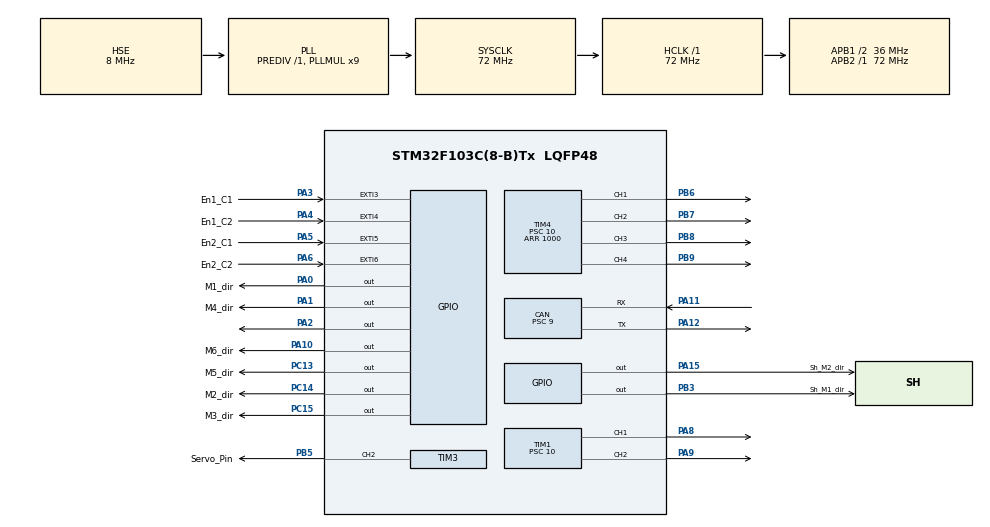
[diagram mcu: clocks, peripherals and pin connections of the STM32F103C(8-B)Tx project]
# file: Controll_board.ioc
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CAN.BS1=CAN_BS1_2TQ
CAN.CalculateBaudRate=1000000
CAN.CalculateTimeBit=1000
CAN.CalculateTimeQuantum=250.0
CAN.Prescaler=9
Mcu.Family=STM32F1
Mcu.Name=STM32F103C(8-B)Tx
Mcu.Package=LQFP48
NVIC.CAN1_RX1_IRQn=true\:0\:0\:false\:false\:true\:true\:true\:true
NVIC.EXTI3_IRQn=true\:0\:0\:false\:false\:true\:true\:true\:true
NVIC.EXTI4_IRQn=true\:0\:0\:false\:false\:true\:true\:true\:true
NVIC.EXTI9_5_IRQn=true\:0\:0\:false\:false\:true\:true\:true\:true
NVIC.PriorityGroup=NVIC_PRIORITYGROUP_4
NVIC.TIM2_IRQn=true\:0\:0\:false\:false\:true\:true\:true\:true
PA0-WKUP.GPIO_Label=M1_dir
PA0-WKUP.Signal=GPIO_Output
PA1.GPIO_Label=M4_dir
PA1.Signal=GPIO_Output
PA10.GPIO_Label=M6_dir
PA10.Signal=GPIO_Output
PA11.Mode=CAN_Activate
PA11.Signal=CAN_RX
PA12.Mode=CAN_Activate
PA12.Signal=CAN_TX
PA13.Mode=Serial_Wire
PA13.Signal=SYS_JTMS-SWDIO
PA14.Mode=Serial_Wire
PA14.Signal=SYS_JTCK-SWCLK
PA15.GPIO_Label=Sh_M2_dir
PA15.Signal=GPIO_Output
PA2.Signal=GPIO_Output
PA3.GPIO_Label=En1_C1
PA3.GPIO_ModeDefaultEXTI=GPIO_MODE_IT_RISING_FALLING
PA3.Signal=GPXTI3
PA4.GPIO_Label=En1_C2
PA4.GPIO_ModeDefaultEXTI=GPIO_MODE_IT_RISING_FALLING
PA4.Signal=GPXTI4
PA5.GPIO_Label=En2_C1
PA5.GPIO_ModeDefaultEXTI=GPIO_MODE_IT_RISING_FALLING
PA5.Signal=GPXTI5
PA6.GPIO_Label=En2_C2
PA6.GPIO_ModeDefaultEXTI=GPIO_MODE_IT_RISING_FALLING
PA6.Signal=GPXTI6
PA8.Signal=S_TIM1_CH1
PA9.Signal=S_TIM1_CH2
PB3.GPIO_Label=Sh_M1_dir
PB3.Signal=GPIO_Output
PB5.GPIO_Label=Servo_Pin
PB5.Signal=S_TIM3_CH2
PB6.Signal=S_TIM4_CH1
PB7.Signal=S_TIM4_CH2
PB8.Signal=S_TIM4_CH3
PB9.Signal=S_TIM4_CH4
PC13-TAMPER-RTC.GPIO_Label=M5_dir
PC13-TAMPER-RTC.Signal=GPIO_Output
PC14-OSC32_IN.GPIO_Label=M2_dir
PC14-OSC32_IN.Signal=GPIO_Output
PC15-OSC32_OUT.GPIO_Label=M3_dir
PC15-OSC32_OUT.Signal=GPIO_Output
PD0-OSC_IN.Mode=HSE-External-Oscillator
PD0-OSC_IN.Signal=RCC_OSC_IN
PD1-OSC_OUT.Mode=HSE-External-Oscillator
PD1-OSC_OUT.Signal=RCC_OSC_OUT
ProjectManager.HeapSize=0x200
ProjectManager.StackSize=0x400
ProjectManager.TargetToolchain=STM32CubeIDE
RCC.AHBFreq_Value=72000000
RCC.APB1CLKDivider=RCC_HCLK_DIV2
RCC.APB1Freq_Value=36000000
RCC.APB1TimFreq_Value=72000000
RCC.APB2Freq_Value=72000000
RCC.APB2TimFreq_Value=72000000
RCC.HCLKFreq_Value=72000000
RCC.PLLMUL=RCC_PLL_MUL9
RCC.PLLSourceVirtual=RCC_PLLSOURCE_HSE
RCC.SYSCLKFreq_VALUE=72000000
RCC.SYSCLKSource=RCC_SYSCLKSOURCE_PLLCLK
RCC.USBFreq_Value=72000000
SH.S_TIM1_CH1.0=TIM1_CH1,PWM Generation1 CH1
SH.S_TIM1_CH2.0=TIM1_CH2,PWM Generation2 CH2
SH.S_TIM3_CH2.0=TIM3_CH2,PWM Generation2 CH2
SH.S_TIM4_CH1.0=TIM4_CH1,PWM Generation1 CH1
SH.S_TIM4_CH2.0=TIM4_CH2,PWM Generation2 CH2
SH.S_TIM4_CH3.0=TIM4_CH3,PWM Generation3 CH3
SH.S_TIM4_CH4.0=TIM4_CH4,PWM Generation4 CH4
TIM1.AutoReloadPreload=TIM_AUTORELOAD_PRELOAD_ENABLE
TIM1.Channel-PWM\ Generation1\ CH1=TIM_CHANNEL_1
TIM1.Channel-PWM\ Generation2\ CH2=TIM_CHANNEL_2
TIM1.Period=1000
TIM1.Prescaler=10
TIM2.AutoReloadPreload=TIM_AUTORELOAD_PRELOAD_ENABLE
TIM2.Period=999
TIM2.Prescaler=719
TIM3.AutoReloadPreload=TIM_AUTORELOAD_PRELOAD_ENABLE
TIM3.Channel-PWM\ Generation2\ CH2=TIM_CHANNEL_2
TIM3.Period=999
TIM3.Prescaler=1439
TIM4.AutoReloadPreload=TIM_AUTORELOAD_PRELOAD_ENABLE
TIM4.Channel-PWM\ Generation1\ CH1=TIM_CHANNEL_1
TIM4.Channel-PWM\ Generation2\ CH2=TIM_CHANNEL_2
TIM4.Channel-PWM\ Generation3\ CH3=TIM_CHANNEL_3
TIM4.Channel-PWM\ Generation4\ CH4=TIM_CHANNEL_4
TIM4.Period=1000
TIM4.Prescaler=10
VP_TIM1_VS_ClockSourceINT.Mode=Internal
VP_TIM2_VS_ClockSourceINT.Mode=Internal
VP_TIM3_VS_ClockSourceINT.Mode=Internal
VP_TIM4_VS_ClockSourceINT.Mode=Internal
board=custom

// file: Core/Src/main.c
/* USER CODE BEGIN Header */
/**
  ******************************************************************************
  * @file           : main.c
  * @brief          : Main program body
  ******************************************************************************
  * @attention
  *
  * Copyright (c) 2023 STMicroelectronics.
  * All rights reserved.
  *
  * This software is licensed under terms that can be found in the LICENSE file
  * in the root directory of this software component.
  * If no LICENSE file comes with this software, it is provided AS-IS.
  *
  ******************************************************************************
  */
/* USER CODE END Header */
#include "main.h"
#include "can.h"
#include "tim.h"
#include "gpio.h"

/* USER CODE BEGIN Includes */
#include "PID.h"
#include "math.h"
/* USER CODE END Includes */

/* USER CODE BEGIN PTD */
uint8_t data[2] = {0};
uint16_t data_16 = 0;
float speed = 0;

uint8_t input_degree = 150; // 90

float speed_up;
uint8_t up_control = 1;
uint8_t shoot_state;
uint8_t shoot_finish = 1;

uint8_t start_finish = 1;
/* USER CODE END PTD */

/* USER CODE BEGIN PD */
PIDController MPID;
#define MKp 1.14
#define MKi 25.59
#define MKd 0.0

// need to configuration
#define CPR 64
#define Sample_time 10 // ms

#define pi 3.1415
#define Motor1 0
#define Motor2 1
volatile uint8_t nowA[2];
volatile uint8_t nowB[2];
volatile uint8_t lastA[2];
volatile uint8_t lastB[2];
volatile uint8_t dir[2];
uint16_t cnt[2];
uint16_t Enc_count[2];

uint16_t count[2]; // count pulse from encoder
uint16_t new_count[2];
uint8_t count_state[2];
uint16_t diff[2]; // difference between count and new_count in a sample time

float speedM[2];
float rdps[2];

float Motor1_speed = 0;
float Motor2_speed = 0;
float V1 = 0; // target speed of motor1
float V2 = 0; // target speed of motor2
float pwm_M1 = 0;
float pwm_M2 = 0;
float M_shooter1 = 0;
float M_shooter2 = 0;

///// reloading
uint8_t reload_feedback;
uint8_t reload_control;
int8_t reload_error;

uint8_t right_feedback = 1;
uint8_t right_control = 1;
int8_t right_error;

uint8_t left_feedback = 1;
uint8_t left_control = 1;
int8_t left_error;

uint8_t shoot_feedback = 0;
uint8_t shoot_control = 0;
int8_t shoot_error = 0;

uint8_t bit1;
uint8_t bit2;
uint8_t bit3;
uint8_t bit4;

uint8_t pickup_state;
uint8_t ring_count;
uint8_t start;
uint8_t prepare;
uint8_t reload;
uint8_t shoot;

uint8_t right_reset;
uint8_t left_reset;

uint8_t test = 150;
/* USER CODE END PD */

/* USER CODE BEGIN PM */
CAN_RxHeaderTypeDef RxHeader;
uint8_t RxData[8];
CAN_TxHeaderTypeDef TxHeader;
uint8_t TxData[4];
uint32_t TxMailbox;
uint8_t cntt;

uint8_t break_loop;

float map(float Input, float Min_Input, float Max_Input, float Min_Output, float Max_Output)
{

	return (float)((Input - Min_Input) * (Max_Output - Min_Output) / (Max_Input - Min_Input) + Min_Output);
}

void servo_rotation(uint8_t degree){
	float y = 0.556 * (float) degree + 25;
	uint8_t pwm = round(y);
	TIM3->CCR2 = pwm;
}

void HAL_CAN_RxFifo1MsgPendingCallback(CAN_HandleTypeDef *hcan)
{
	HAL_CAN_GetRxMessage(hcan, CAN_RX_FIFO1, &RxHeader, RxData);
	cntt++;
	while (cntt - 100 > 0)
	{
		HAL_GPIO_TogglePin(GPIOA, GPIO_PIN_2);
		cntt = 0;
	}

	if (RxHeader.DLC == 2 && RxHeader.StdId == 0x222)
	{
		data_16 = (RxData[0] << 8) | RxData[1];
		speed = map(data_16,0,65535,0,1500);
	}

	if (RxHeader.DLC == 1 && RxHeader.StdId == 0x444){
		reload_feedback = RxData[0] >> 0 & 1;
		bit1 = RxData[0] >> 1 & 1;
		bit2 = RxData[0] >> 2 & 1;
		right_feedback = (bit2 << 1 ) + bit1;
		bit3 = RxData[0] >> 3 & 1;
		bit4 = RxData[0] >> 4 & 1;
		left_feedback = (bit4 << 1 ) + bit3;

		shoot_feedback = RxData[0] >> 5 & 1;

		right_reset = RxData[0] >> 6 & 1;
		left_reset = RxData[0] >> 7 & 1;

		if (right_reset == 1 || left_reset == 1){
			right_reset = 0;
			left_reset = 0;
			// break signal

			break_loop = 1;
			servo_rotation(150);
			right_control = 1;
			left_control = 1;
		}
	}

	// working_state
	if (RxHeader.DLC == 1 && RxHeader.StdId == 0x145){
		if(RxData[0] == 0){
			if(right_error == 0 && left_error == 0 && left_feedback != 0 && right_feedback != 0) {
				prepare = 1;
			}
		}
		else if(RxData[0] == 1 && start_finish == 1){
			if(right_error == 0 && left_error == 0){
				start = 1;
			}
		}
		else if(RxData[0] == 2 && shoot_finish == 1){
			if(shoot_state == 0 ){ // && ring_count > 0 && ring_count <= 10
				shoot = 1;
			}
		}
	}
}

/* USER CODE END PM */

/* USER CODE BEGIN PV */
// process on pick up //

void prepare_function(){
	ring_count = 0;
	servo_rotation(160);
	right_control = 0;
	left_control = 0;
	HAL_Delay(10);
	while (left_error != 0 || right_error != 0 )
	{
		/* code */
	}
}

//void reload_function(){
//
//	if(break_loop){
//		break_loop = 0;
//		right_feedback = 1;
//		left_feedback = 1;
//	}
//	else {
//		reload_control = 1;
//		HAL_Delay(50);
//		while(reload_control != 0){
//			right_control = 0;
//			left_control = 0;
//		}
//
//		while(reload_error != 0){
//			right_feedback = 0;
//			left_feedback = 0;
//			right_error = 0;
//			left_error = 0;
//		}
//		right_feedback = 0;
//		left_feedback = 0;
//		HAL_Delay(200);
//		right_control = 3;
//		left_control = 3;
//		HAL_Delay(10);
//		if(break_loop){
//			right_control = 1;
//			left_control = 1;
//			servo_rotation(160);
//		}
//		else {
//			while ((left_error != 0 || right_error != 0))
//			{
//				if (break_loop){
//					right_control = 1;
//					left_control = 1;
//					break;
//				}
//				/* code */
//			}
//			if (break_loop == 0){
//				right_control = 2;
//				left_control = 2;
//				HAL_Delay(10);
//			}
//
//			while ((left_error != 0 || right_error != 0 ))
//			{
//				/* code */
//				if (break_loop){
//					right_control = 1;
//					left_control = 1;
//					break;
//				}
//			}
//		}
//	}
//
//}
//

void reload_function(){

	if(break_loop){
		break_loop = 0;
		right_feedback = 1;
		left_feedback = 1;
	}
	else {
		reload_control = 1;
		HAL_Delay(300);
		while(reload_control != 0){
			right_control = 0;
			left_control = 0;
		}
//		right_control = 0;
//		left_control = 0;
//		HAL_Delay(10);
//		reload_control = 1;
//		while(reload_control != 0);

		while(reload_error != 0){
			right_feedback = 0;
			left_feedback = 0;
			right_error = 0;
			left_error = 0;
		}
		right_feedback = 0;
		left_feedback = 0;
		while(reload_feedback != 0){
			HAL_Delay(10);
		}
		right_control = 3;
		left_control = 3;
		HAL_Delay(10);
		if(break_loop){
			right_control = 1;
			left_control = 1;
			servo_rotation(160);
		}
		else {
			while ((left_error != 0 || right_error != 0))
			{
				if (break_loop){
					right_control = 1;
					left_control = 1;
					break;
				}
				/* code */
			}
			if (break_loop == 0){
				right_control = 2;
				left_control = 2;
				HAL_Delay(10);
			}

			while ((left_error != 0 || right_error != 0 ))
			{
				/* code */
				if (break_loop){
					right_control = 1;
					left_control = 1;
					break;
				}
			}
		}
	}

}

void start_fucntion(){
	start_finish = 0;
	servo_rotation(95);
	HAL_Delay(500);
	right_control = 2;
	left_control = 2;

	HAL_Delay(10);
	while ((left_error != 0 || right_error != 0 ) ){
		if (break_loop){
			right_control = 1;
			left_control = 1;
			break;
		}
	}

	HAL_Delay(10);
	reload_function();

	start_finish = 1;
}

void shoot_function(float speed_){
	shoot_finish = 0;
	speed = speed_;
	HAL_Delay(1000);
	shoot_state = 1;
	HAL_Delay(700);
	shoot_state = 0;
	speed = 0;

	HAL_Delay(10);
	while(shoot_error != 0);
	if (right_feedback != 1 && left_feedback != 1){
		reload_function();
	}
	shoot_finish = 1;
}
/* USER CODE END PV */

void SystemClock_Config(void);
/* USER CODE BEGIN PFP */
uint16_t encoder(int i)
{
	if (nowA[i] != lastA[i])
	{
		lastA[i] = nowA[i];
		if (lastA[i] == 0)
		{
			if (nowB[i] == 0)
			{
				dir[i] = 0;
				cnt[i]--;
			}
			else
			{
				dir[i] = 1;
				cnt[i]++;
			}
		}
		else
		{
			if (nowB[i] == 1)
			{
				dir[i] = 0;
				cnt[i]--;
			}
			else
			{
				dir[i] = 1;
				cnt[i]++;
			}
		}
	}
	if (nowB[i] != lastB[i])
	{
		lastB[i] = nowB[i];
		if (lastB[i] == 0)
		{
			if (nowA[i] == 1)
			{
				dir[i] = 0;
				cnt[i]--;
			}
			else
			{
				dir[i] = 1;
				cnt[i]++;
			}
		}
		else
		{
			if (nowA[i] == 0)
			{
				dir[i] = 0;
				cnt[i]--;
			}
			else
			{
				dir[i] = 1;
				cnt[i]++;
			}
		}
	}
	return cnt[i];
}
float Motors_RPS(int j, float SampleTime, float N_round)
{
	new_count[Motor1] = Enc_count[0];
	new_count[Motor2] = Enc_count[1];

	count_state[Motor1] = !dir[0];
	count_state[Motor2] = !dir[1];

	if (count_state[j])
	{
		if (new_count[j] <= count[j])
		{ // Check for counter underflow
			diff[j] = count[j] - new_count[j];
		}
		else
		{
			diff[j] = (65536 - new_count[j]) + count[j];
		}
		speedM[j] = (float)diff[j] * 1000.0f / (N_round * SampleTime) * -1.0;
	}
	else
	{
		if (new_count[j] >= count[j])
		{ // Check for counter overflow
			diff[j] = new_count[j] - count[j];
		}
		else
		{
			diff[j] = (65536 - count[j]) + new_count[j];
		}
		speedM[j] = (float)diff[j] * 1000.0f / (N_round * SampleTime);
	}

	rdps[j] = -2.0f * pi * speedM[j];
	count[j] = new_count[j];

	return rdps[j];
}

/* USER CODE END PFP */

int main(void)
{

  /* MCU Configuration--------------------------------------------------------*/

  /* Reset of all peripherals, Initializes the Flash interface and the Systick. */
  HAL_Init();

  /* USER CODE BEGIN Init */
	PID_Init(&MPID, 2);
	MPID.T = 0.01; // T = 20ms
	MPID.limMax = 1000;
	MPID.limMin = -10;
	MPID.limMaxInt = 1000;
	MPID.limMinInt = -10;
	MPID.tau = 0; // for Kd

  /* USER CODE END Init */

  /* Configure the system clock */
  SystemClock_Config();

  /* Initialize all configured peripherals */
  MX_GPIO_Init();
  MX_TIM2_Init();
  MX_TIM4_Init();
  MX_CAN_Init();
  MX_TIM3_Init();
  MX_TIM1_Init();
  /* USER CODE BEGIN 2 */
  HAL_TIM_Base_Start_IT(&htim2);						// TIMER INTERUPT
  HAL_TIM_PWM_Start(&htim4, TIM_CHANNEL_1);				// M1
  HAL_TIM_PWM_Start(&htim4, TIM_CHANNEL_2);				// M2
  HAL_TIM_PWM_Start(&htim4, TIM_CHANNEL_3);				// M1
  HAL_TIM_PWM_Start(&htim4, TIM_CHANNEL_4);				// M2

  HAL_TIM_PWM_Start(&htim3, TIM_CHANNEL_2);				// servo

  HAL_TIM_PWM_Start(&htim1, TIM_CHANNEL_1);				// M1
  HAL_TIM_PWM_Start(&htim1, TIM_CHANNEL_2);				// M2
	HAL_CAN_Start(&hcan);

	// Activate the notification
	HAL_CAN_ActivateNotification(&hcan, CAN_IT_RX_FIFO1_MSG_PENDING);

	servo_rotation(160);
  /* USER CODE END 2 */

  /* Infinite loop */
  while (1)
  {

    /* USER CODE BEGIN 3 */
	  if(HAL_GetTick() < 2000){
		  HAL_GPIO_TogglePin(GPIOA, GPIO_PIN_2);
		  HAL_Delay(100);
	  }

	  if (prepare == 1){
		  prepare = 0;
		  prepare_function();
	  }
	  if(start == 1){
		  start = 0;
		  start_fucntion();
	  }
	  if(reload == 1){
		  reload = 0;
		  reload_function();
	  }
	  if(shoot == 1 && speed > 0){
		  shoot = 0;
		  shoot_function(speed);
	  }

	  if(break_loop == 1 &&(right_feedback == 1 && left_feedback == 1)){
		  break_loop = 0;
	  }

//	  servo_rotation(test);

  }
  /* USER CODE END 3 */
}

void SystemClock_Config(void)
{
  RCC_OscInitTypeDef RCC_OscInitStruct = {0};
  RCC_ClkInitTypeDef RCC_ClkInitStruct = {0};

  /** Initializes the RCC Oscillators according to the specified parameters
  * in the RCC_OscInitTypeDef structure.
  */
  RCC_OscInitStruct.OscillatorType = RCC_OSCILLATORTYPE_HSE;
  RCC_OscInitStruct.HSEState = RCC_HSE_ON;
  RCC_OscInitStruct.HSEPredivValue = RCC_HSE_PREDIV_DIV1;
  RCC_OscInitStruct.HSIState = RCC_HSI_ON;
  RCC_OscInitStruct.PLL.PLLState = RCC_PLL_ON;
  RCC_OscInitStruct.PLL.PLLSource = RCC_PLLSOURCE_HSE;
  RCC_OscInitStruct.PLL.PLLMUL = RCC_PLL_MUL9;
  if (HAL_RCC_OscConfig(&RCC_OscInitStruct) != HAL_OK)
  {
    Error_Handler();
  }

  /** Initializes the CPU, AHB and APB buses clocks
  */
  RCC_ClkInitStruct.ClockType = RCC_CLOCKTYPE_HCLK|RCC_CLOCKTYPE_SYSCLK
                              |RCC_CLOCKTYPE_PCLK1|RCC_CLOCKTYPE_PCLK2;
  RCC_ClkInitStruct.SYSCLKSource = RCC_SYSCLKSOURCE_PLLCLK;
  RCC_ClkInitStruct.AHBCLKDivider = RCC_SYSCLK_DIV1;
  RCC_ClkInitStruct.APB1CLKDivider = RCC_HCLK_DIV2;
  RCC_ClkInitStruct.APB2CLKDivider = RCC_HCLK_DIV1;

  if (HAL_RCC_ClockConfig(&RCC_ClkInitStruct, FLASH_LATENCY_2) != HAL_OK)
  {
    Error_Handler();
  }
}

/* USER CODE BEGIN 4 */
void HAL_GPIO_EXTI_Callback(uint16_t GPIO_Pin)
{
	if (GPIO_Pin == En1_C1_Pin || En1_C2_Pin)
	{ // ENCODER Motor 1
		nowA[0] = HAL_GPIO_ReadPin(En1_C1_GPIO_Port, En1_C1_Pin);
		nowB[0] = HAL_GPIO_ReadPin(En1_C2_GPIO_Port, En1_C2_Pin);
		Enc_count[0] = encoder(0);
	}
	if (GPIO_Pin == En2_C1_Pin || En2_C2_Pin)
	{ // ENCODER Motor 1
		nowA[1] = HAL_GPIO_ReadPin(En2_C1_GPIO_Port, En2_C1_Pin);
		nowB[1] = HAL_GPIO_ReadPin(En2_C2_GPIO_Port, En2_C2_Pin);
		Enc_count[1] = encoder(1);
	}
}
void HAL_TIM_PeriodElapsedCallback(TIM_HandleTypeDef *htim){
	if (htim->Instance == TIM2){
		// PID // need to change for using
		M_shooter1 = PID(&MPID, speed, Motor1_speed, MKp, MKi, MKd, Motor1);
		M_shooter2 = PID(&MPID, speed, Motor2_speed, MKp, MKi, MKd, Motor2);
		// feedback speed
		Motor1_speed = (float)fabs(Motors_RPS(Motor1, Sample_time, CPR));
		Motor2_speed = (float)fabs(Motors_RPS(Motor2, Sample_time, CPR));

		// dir
			// need to config
		HAL_GPIO_WritePin(Sh_M1_dir_GPIO_Port, Sh_M1_dir_Pin, 0);
		HAL_GPIO_WritePin(Sh_M2_dir_GPIO_Port, Sh_M2_dir_Pin, 0);

		// pwm
		if (M_shooter1 > 20)	// M1
		{
			TIM1->CCR2 = M_shooter1;
		}
		else
		{
			TIM1->CCR2 = 0;
		}
		if (M_shooter2 > 20)	// M2
		{
			TIM1->CCR1 = M_shooter2;
		}
		else
		{
			TIM1->CCR1 = 0;
		}

//
		if (pwm_M1 > 10){
			HAL_GPIO_WritePin(M1_dir_GPIO_Port, M1_dir_Pin, 0);
			TIM4->CCR2 = pwm_M1;
		}
		else if (pwm_M1 < -10){
			HAL_GPIO_WritePin(M1_dir_GPIO_Port, M1_dir_Pin, 1);
			TIM4->CCR2 = -1 * pwm_M1;
		}
		else{
			HAL_GPIO_WritePin(M1_dir_GPIO_Port, M1_dir_Pin, 0);
			TIM4->CCR2 = 0;
		}
		if (pwm_M2 > 10){
			HAL_GPIO_WritePin(M2_dir_GPIO_Port, M2_dir_Pin, 1);
			TIM4->CCR1 = pwm_M2;
		}
		else if (pwm_M2 < -10){
			HAL_GPIO_WritePin(M2_dir_GPIO_Port, M2_dir_Pin, 0);
			TIM4->CCR1 = -1 * pwm_M2;
		}
		else{
			HAL_GPIO_WritePin(M2_dir_GPIO_Port, M2_dir_Pin, 0);
			TIM4->CCR1 = 0;
		}

		// reload
		reload_error = reload_control - reload_feedback;
		shoot_error = shoot_control - shoot_feedback;

		if(shoot_state == 1){		// load for shoot // M3
			shoot_control = 1;
		}
		else {
			shoot_control = 0;
		}

		if (shoot_error > 0){
			HAL_GPIO_WritePin(M3_dir_GPIO_Port, M3_dir_Pin, 1);
			TIM4->CCR3 = 600;
		}
		else if(shoot_error < 0){
			HAL_GPIO_WritePin(M3_dir_GPIO_Port, M3_dir_Pin, 0);
			TIM4->CCR3 = 600;
		}
		else {
			HAL_GPIO_WritePin(M3_dir_GPIO_Port, M3_dir_Pin, 0);
			TIM4->CCR3 = 0;
		}

		if(reload_error > 0){	// M4

			HAL_GPIO_WritePin(M4_dir_GPIO_Port, M4_dir_Pin, 0);		// CW
			TIM4->CCR4 = 1000;
		}
		else if(reload_error < 0){

			HAL_GPIO_WritePin(M4_dir_GPIO_Port, M4_dir_Pin, 1);		// CCW
			TIM4->CCR4 = 800;
		}
		else {
			HAL_GPIO_WritePin(M4_dir_GPIO_Port, M4_dir_Pin, 0);
			TIM4->CCR4 = 0;
		}

		//////////////////////////////////////////////////

		if(right_error > 0){	// M1
			pwm_M1 = -520;
		}
		else if(right_error < 0){
			pwm_M1 = 520;
		}
		else {
			pwm_M1 = 0;
		}

		if(left_error > 0){	// M2
			pwm_M2 = -450;
		}
		else if(left_error < 0){
			pwm_M2 = 450;
		}
		else {
			pwm_M2 = 0;
		}

		right_error = right_control - right_feedback;
		left_error = left_control - left_feedback;

		if(reload_feedback == 1 && reload_error == 0){
			reload_control = 0;
		}

	}
}
/* USER CODE END 4 */

void Error_Handler(void)
{
  __disable_irq();
  while (1)
  {
  }
}
